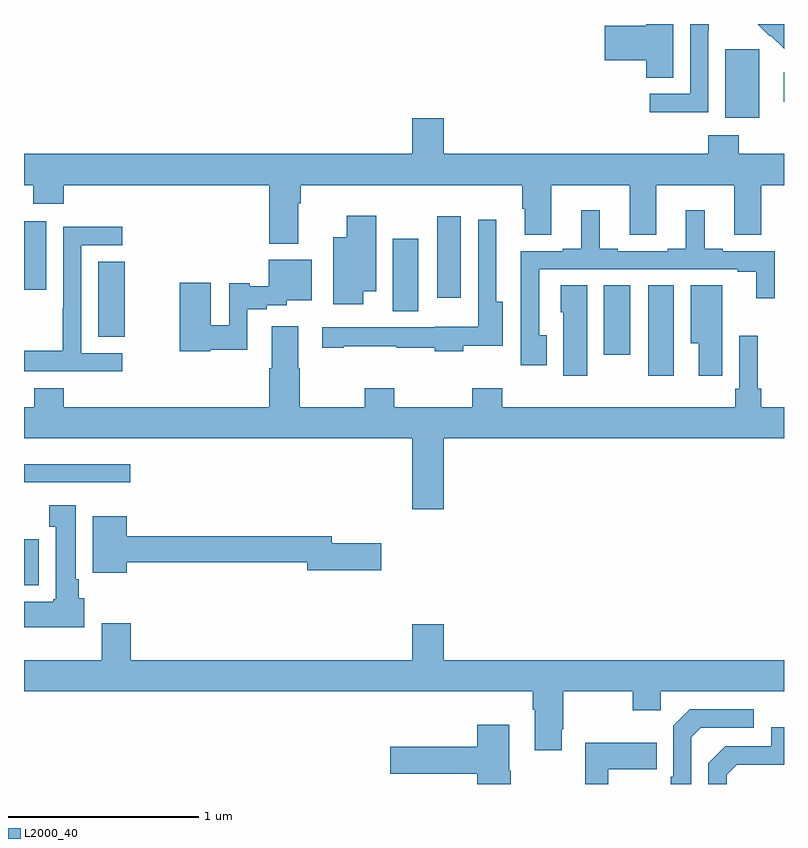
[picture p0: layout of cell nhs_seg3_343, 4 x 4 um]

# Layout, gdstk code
import gdstk
lib = gdstk.Library(unit=1e-6, precision=1e-09)
def R(c, l, rs):  # rectangles x0, y0, x1, y1
    for r in rs: c.add(gdstk.rectangle(r[:2], r[2:], *l))
def P(c, l, *ps):  # polygons
    for p in ps: c.add(gdstk.Polygon(p, *l))
L2000_40 = (2000, 40)

nhs_seg3_343 = lib.new_cell('nhs_seg3_343')
R(nhs_seg3_343, L2000_40, [(127,729.446,127.078,729.688), (127,729.987,127.558,730.084), (130.286,730.548,130.42,731.024), (130.052,730.659,130.192,731.024), (127.391,730.753,127.53,731.15), (128.942,730.888,129.076,731.269), (129.176,730.959,129.298,731.389), (127,731.001,127.117,731.362), (130.691,731.906,130.87,732.267), (130.998,731.992,131,732.146)])
P(nhs_seg3_343, L2000_40, [(130.602,732.364),(130.605,732.364),(130.605,732.4),(130.506,732.4),(130.506,732.033),(130.293,732.033),(130.293,731.935),(130.602,731.935)],
  [(130.417,732.4),(130.274,732.4),(130.274,732.392),(130.056,732.392),(130.056,732.209),(130.274,732.209),(130.274,732.118),(130.417,732.118)],
  [(131,732.4),(130.862,732.4),(130.926,732.336),(130.929,732.339),(131,732.269)],
  [(128.443,731.456),(128.456,731.456),(128.456,731.552),(129.623,731.552),(129.623,731.427),(129.635,731.427),(129.635,731.29),(129.775,731.29),(129.775,731.552),(130.187,731.552),(130.187,731.29),(130.327,731.29),(130.327,731.552),(130.739,731.552),(130.739,731.29),(130.879,731.29),(130.879,731.552),(131,731.552),(131,731.716),(130.761,731.716),(130.761,731.815),(130.601,731.815),(130.601,731.716),(129.208,731.716),(129.208,731.905),(129.044,731.905),(129.044,731.716),(127,731.716),(127,731.552),(127.048,731.552),(127.048,731.453),(127.208,731.453),(127.208,731.552),(128.291,731.552),(128.291,731.243),(128.443,731.243)],
  [(129.751,730.761),(129.711,730.761),(129.711,731.109),(130.757,731.109),(130.757,731.097),(130.853,731.097),(130.853,730.956),(130.95,730.956),(130.95,731.205),(130.678,731.205),(130.678,731.218),(130.582,731.218),(130.582,731.419),(130.484,731.419),(130.484,731.218),(130.388,731.218),(130.388,731.205),(130.126,731.205),(130.126,731.218),(130.03,731.218),(130.03,731.419),(129.932,731.419),(129.932,731.218),(129.836,731.218),(129.836,731.205),(129.615,731.205),(129.615,730.605),(129.751,730.605)],
  [(128.785,730.994),(128.854,730.994),(128.854,731.392),(128.699,731.392),(128.699,731.278),(128.627,731.278),(128.627,730.926),(128.785,730.926)],
  [(129.312,730.706),(129.52,730.706),(129.52,730.939),(129.486,730.939),(129.486,731.371),(129.39,731.371),(129.39,730.807),(129.162,730.807),(129.162,730.803),(128.571,730.803),(128.571,730.695),(128.683,730.695),(128.683,730.705),(128.962,730.705),(128.962,730.695),(129.162,730.695),(129.162,730.678),(129.312,730.678)],
  [(127.516,730.668),(127.302,730.668),(127.302,731.235),(127.516,731.235),(127.516,731.334),(127.206,731.334),(127.206,730.904),(127.204,730.904),(127.204,730.681),(127,730.681),(127,730.572),(127.516,730.572)],
  [(127.98,730.686),(128.175,730.686),(128.175,730.9),(128.277,730.9),(128.277,730.92),(128.382,730.92),(128.382,730.946),(128.515,730.946),(128.515,731.158),(128.288,731.158),(128.288,731.019),(128.187,731.019),(128.187,731.036),(128.079,731.036),(128.079,730.814),(127.984,730.814),(127.984,731.038),(127.819,731.038),(127.819,730.678),(127.98,730.678)],
  [(130.675,731.024),(130.508,731.024),(130.508,730.721),(130.55,730.721),(130.55,730.548),(130.675,730.548)],
  [(129.964,731.024),(129.824,731.024),(129.824,730.884),(129.839,730.884),(129.839,730.548),(129.964,730.548)],
  [(129.208,730.22),(131,730.22),(131,730.384),(130.88,730.384),(130.88,730.48),(130.862,730.48),(130.862,730.759),(130.764,730.759),(130.764,730.48),(130.744,730.48),(130.744,730.384),(129.518,730.384),(129.518,730.483),(129.358,730.483),(129.358,730.384),(128.949,730.384),(128.949,730.483),(128.794,730.483),(128.794,730.384),(128.451,730.384),(128.451,730.589),(128.443,730.589),(128.443,730.81),(128.303,730.81),(128.303,730.589),(128.291,730.589),(128.291,730.384),(127.208,730.384),(127.208,730.483),(127.055,730.483),(127.055,730.384),(127,730.384),(127,730.22),(129.044,730.22),(129.044,729.846),(129.208,729.846)],
  [(127.318,729.378),(127.288,729.378),(127.288,729.478),(127.273,729.478),(127.273,729.868),(127.133,729.868),(127.133,729.755),(127.166,729.755),(127.166,729.372),(127.153,729.372),(127.153,729.358),(127,729.358),(127,729.224),(127.318,729.224)],
  [(127.54,729.568),(128.492,729.568),(128.492,729.526),(128.881,729.526),(128.881,729.668),(128.62,729.668),(128.62,729.704),(127.54,729.704),(127.54,729.808),(127.361,729.808),(127.361,729.512),(127.54,729.512)],
  [(129.829,728.689),(129.837,728.689),(129.837,728.888),(130.204,728.888),(130.204,728.789),(130.35,728.789),(130.35,728.888),(131,728.888),(131,729.052),(129.208,729.052),(129.208,729.241),(129.044,729.241),(129.044,729.052),(127.562,729.052),(127.562,729.247),(127.409,729.247),(127.409,729.052),(127,729.052),(127,728.888),(129.677,728.888),(129.677,728.792),(129.689,728.792),(129.689,728.577),(129.829,728.577)],
  [(130.512,728.646),(130.563,728.697),(130.84,728.697),(130.84,728.793),(130.503,728.793),(130.416,728.706),(130.416,728.437),(130.404,728.437),(130.404,728.4),(130.512,728.4)],
  [(129.561,728.469),(129.553,728.469),(129.553,728.713),(129.386,728.713),(129.386,728.595),(128.928,728.595),(128.928,728.453),(129.386,728.453),(129.386,728.4),(129.561,728.4)],
  [(130.698,728.448),(130.751,728.501),(131,728.501),(131,728.7),(130.932,728.7),(130.932,728.598),(130.692,728.598),(130.602,728.508),(130.602,728.4),(130.698,728.4)],
  [(130.075,728.477),(130.331,728.477),(130.331,728.617),(129.954,728.617),(129.954,728.4),(130.075,728.4)])

lib.write_gds('nhs_seg3_343.gds')
